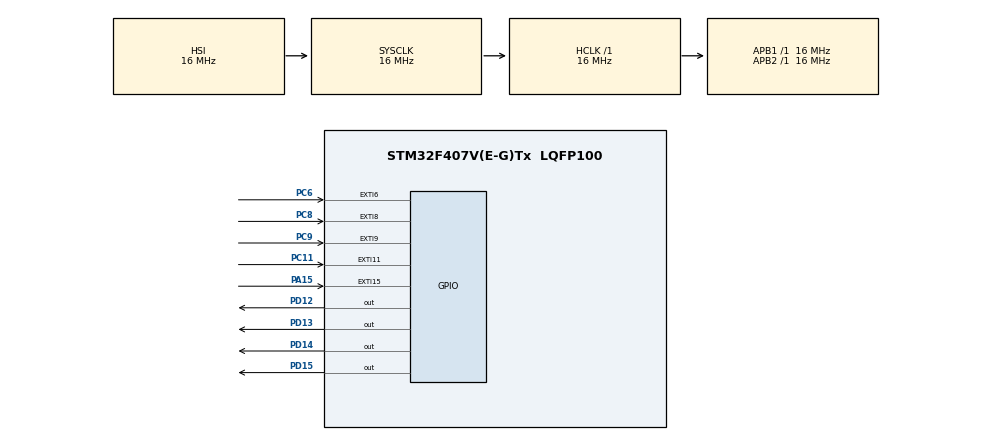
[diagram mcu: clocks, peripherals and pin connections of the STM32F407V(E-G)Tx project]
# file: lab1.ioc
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Mcu.Family=STM32F4
Mcu.Name=STM32F407V(E-G)Tx
Mcu.Package=LQFP100
NVIC.EXTI15_10_IRQn=true\:0\:0\:false\:false\:true\:true\:true\:true
NVIC.EXTI9_5_IRQn=true\:0\:0\:false\:false\:true\:true\:true\:true
NVIC.PriorityGroup=NVIC_PRIORITYGROUP_4
PA15.GPIO_ModeDefaultEXTI=GPIO_MODE_IT_FALLING
PA15.Signal=GPXTI15
PC11.GPIO_ModeDefaultEXTI=GPIO_MODE_IT_FALLING
PC11.Signal=GPXTI11
PC6.GPIO_ModeDefaultEXTI=GPIO_MODE_IT_FALLING
PC6.Signal=GPXTI6
PC8.GPIO_ModeDefaultEXTI=GPIO_MODE_IT_FALLING
PC8.Signal=GPXTI8
PC9.GPIO_ModeDefaultEXTI=GPIO_MODE_IT_FALLING
PC9.Signal=GPXTI9
PD12.GPIO_PuPd=GPIO_PULLDOWN
PD12.Signal=GPIO_Output
PD13.GPIO_PuPd=GPIO_PULLDOWN
PD13.Signal=GPIO_Output
PD14.GPIO_PuPd=GPIO_PULLDOWN
PD14.Signal=GPIO_Output
PD15.GPIO_PuPd=GPIO_PULLDOWN
PD15.Signal=GPIO_Output
ProjectManager.HeapSize=0x200
ProjectManager.StackSize=0x400
ProjectManager.TargetToolchain=STM32CubeIDE
RCC.AHBFreq_Value=16000000
RCC.APB1Freq_Value=16000000
RCC.APB2Freq_Value=16000000
RCC.CortexFreq_Value=16000000
RCC.HSE_VALUE=25000000
RCC.HSI_VALUE=16000000
RCC.LSE_VALUE=32768
RCC.SYSCLKFreq_VALUE=16000000
RCC.VCOOutputFreq_Value=192000000
board=custom

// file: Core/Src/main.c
/* USER CODE BEGIN Header */
/**
  ******************************************************************************
  * @file           : main.c
  * @brief          : Main program body
  ******************************************************************************
  * @attention
  *
  * Copyright (c) 2023 STMicroelectronics.
  * All rights reserved.
  *
  * This software is licensed under terms that can be found in the LICENSE file
  * in the root directory of this software component.
  * If no LICENSE file comes with this software, it is provided AS-IS.
  *
  ******************************************************************************
  */
/* USER CODE END Header */
#include "main.h"

/* USER CODE BEGIN Includes */
#include "leds.h"
#include "buttons.h"

/* USER CODE END Includes */

/* USER CODE BEGIN PV */
volatile uint8_t speed_flag = 1;
volatile uint8_t scheme_flag = 0;
volatile uint8_t start_stop_flag = 1;
/* USER CODE END PV */

void SystemClock_Config(void);
static void MX_GPIO_Init(void);

/* USER CODE BEGIN 0 */
led_t leds[LEDS_QUANTITY];

/* USER CODE END 0 */

int main(void)
{
  /* USER CODE BEGIN 1 */
	for (uint8_t i = 0; i < LEDS_QUANTITY; i++) {
		led_init(&leds[i], 20000, (5000 + i * 5000), (12 + i));
	}
  /* USER CODE END 1 */

  /* MCU Configuration--------------------------------------------------------*/

  /* Reset of all peripherals, Initializes the Flash interface and the Systick. */
  HAL_Init();

  /* Configure the system clock */
  SystemClock_Config();

  /* Initialize all configured peripherals */
  MX_GPIO_Init();

  /* Infinite loop */
  /* USER CODE BEGIN WHILE */
  while (1)
  {
	  if (start_stop_flag) {
		  if(scheme_flag == 0) {
			  for (uint8_t i = 0; i < LEDS_QUANTITY; i++) {
				  if (leds[i].cnt > (leds[i].period * speed_flag)) {
					  leds[i].cnt = 0;
				  }

				  if (leds[i].cnt == i * 5000 * speed_flag) {
					  led_write(&leds[i], 1);
				  } else if (leds[i].cnt == (leds[i].pulse * speed_flag)) {
					  led_write(&leds[i], 0);
				  }
				  leds[i].cnt++;
			  }
		  } else if (scheme_flag == 1) {
			  for (uint8_t i = 0; i < LEDS_QUANTITY; i++) {
					if (leds[i].cnt > (leds[i].period * speed_flag)) {
						leds[i].cnt = 0;
					}

					if (leds[i].cnt == i * 5000 * speed_flag) {
						led_write(&leds[i%2], 1);
						led_write(&leds[i%2+2], 1);
					} else if (leds[i].cnt == (leds[i].pulse * speed_flag)) {
						led_write(&leds[i%2], 0);
						led_write(&leds[i%2+2], 0);
					}
					leds[i].cnt++;
				}
		  } else if (scheme_flag == 2) {
			  for (uint8_t i = 0; i < LEDS_QUANTITY; i++) {
					if (leds[i].cnt > (leds[i].period * speed_flag)) {
						leds[i].cnt = 0;
					}

					if (leds[i].cnt == i * 5000 * speed_flag) {
						led_write(&leds[i%2], 1);
						led_write(&leds[i/2+2], 1);
					} else if (leds[i].cnt == (leds[i].pulse * speed_flag)) {
						led_write(&leds[i%2], 0);
						led_write(&leds[i/2+2], 0);
					}
					leds[i].cnt++;
				}
		  }
	  } else {
		  led_stop();
	  }

    /* USER CODE END WHILE */

  }
}

void SystemClock_Config(void)
{
  RCC_OscInitTypeDef RCC_OscInitStruct = {0};
  RCC_ClkInitTypeDef RCC_ClkInitStruct = {0};

  /** Configure the main internal regulator output voltage
  */
  __HAL_RCC_PWR_CLK_ENABLE();
  __HAL_PWR_VOLTAGESCALING_CONFIG(PWR_REGULATOR_VOLTAGE_SCALE1);

  /** Initializes the RCC Oscillators according to the specified parameters
  * in the RCC_OscInitTypeDef structure.
  */
  RCC_OscInitStruct.OscillatorType = RCC_OSCILLATORTYPE_HSI;
  RCC_OscInitStruct.HSIState = RCC_HSI_ON;
  RCC_OscInitStruct.HSICalibrationValue = RCC_HSICALIBRATION_DEFAULT;
  RCC_OscInitStruct.PLL.PLLState = RCC_PLL_NONE;
  if (HAL_RCC_OscConfig(&RCC_OscInitStruct) != HAL_OK)
  {
    Error_Handler();
  }

  /** Initializes the CPU, AHB and APB buses clocks
  */
  RCC_ClkInitStruct.ClockType = RCC_CLOCKTYPE_HCLK|RCC_CLOCKTYPE_SYSCLK
                              |RCC_CLOCKTYPE_PCLK1|RCC_CLOCKTYPE_PCLK2;
  RCC_ClkInitStruct.SYSCLKSource = RCC_SYSCLKSOURCE_HSI;
  RCC_ClkInitStruct.AHBCLKDivider = RCC_SYSCLK_DIV1;
  RCC_ClkInitStruct.APB1CLKDivider = RCC_HCLK_DIV1;
  RCC_ClkInitStruct.APB2CLKDivider = RCC_HCLK_DIV1;

  if (HAL_RCC_ClockConfig(&RCC_ClkInitStruct, FLASH_LATENCY_0) != HAL_OK)
  {
    Error_Handler();
  }
}

static void MX_GPIO_Init(void)
{
  GPIO_InitTypeDef GPIO_InitStruct = {0};

  /* GPIO Ports Clock Enable */
  __HAL_RCC_GPIOD_CLK_ENABLE();
  __HAL_RCC_GPIOC_CLK_ENABLE();
  __HAL_RCC_GPIOA_CLK_ENABLE();

  /*Configure GPIO pin Output Level */
  HAL_GPIO_WritePin(GPIOD, GPIO_PIN_12|GPIO_PIN_13|GPIO_PIN_14|GPIO_PIN_15, GPIO_PIN_RESET);

  /*Configure GPIO pins : PD12 PD13 PD14 PD15 */
  GPIO_InitStruct.Pin = GPIO_PIN_12|GPIO_PIN_13|GPIO_PIN_14|GPIO_PIN_15;
  GPIO_InitStruct.Mode = GPIO_MODE_OUTPUT_PP;
  GPIO_InitStruct.Pull = GPIO_PULLDOWN;
  GPIO_InitStruct.Speed = GPIO_SPEED_FREQ_LOW;
  HAL_GPIO_Init(GPIOD, &GPIO_InitStruct);

  /*Configure GPIO pins : PC6 PC8 PC9 PC11 */
  GPIO_InitStruct.Pin = GPIO_PIN_6|GPIO_PIN_8|GPIO_PIN_9|GPIO_PIN_11;
  GPIO_InitStruct.Mode = GPIO_MODE_IT_FALLING;
  GPIO_InitStruct.Pull = GPIO_NOPULL;
  HAL_GPIO_Init(GPIOC, &GPIO_InitStruct);

  /*Configure GPIO pin : PA15 */
  GPIO_InitStruct.Pin = GPIO_PIN_15;
  GPIO_InitStruct.Mode = GPIO_MODE_IT_FALLING;
  GPIO_InitStruct.Pull = GPIO_NOPULL;
  HAL_GPIO_Init(GPIOA, &GPIO_InitStruct);

  /* EXTI interrupt init*/
  HAL_NVIC_SetPriority(EXTI9_5_IRQn, 0, 0);
  HAL_NVIC_EnableIRQ(EXTI9_5_IRQn);

  HAL_NVIC_SetPriority(EXTI15_10_IRQn, 0, 0);
  HAL_NVIC_EnableIRQ(EXTI15_10_IRQn);

}

void Error_Handler(void)
{
  __disable_irq();
  while (1)
  {
  }
}
